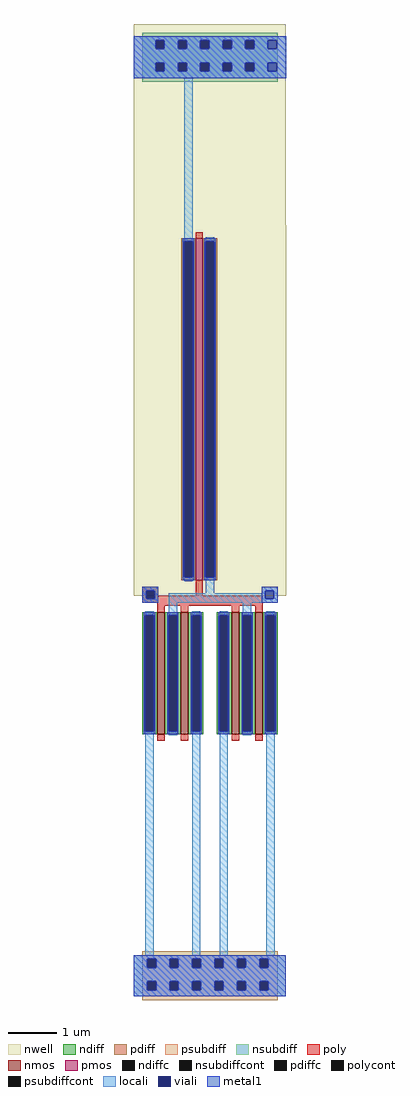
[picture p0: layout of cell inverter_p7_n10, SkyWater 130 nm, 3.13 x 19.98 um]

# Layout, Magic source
magic
tech sky130A
magscale 1 2
<< nwell >>
rect -36 2172 588 2996
rect -36 656 590 2172
<< psubdiff >>
rect 0 -832 554 -800
rect 0 -868 20 -832
rect 56 -868 112 -832
rect 148 -868 204 -832
rect 240 -868 296 -832
rect 332 -868 388 -832
rect 424 -868 480 -832
rect 516 -868 554 -832
rect 0 -924 554 -868
rect 0 -960 20 -924
rect 56 -960 112 -924
rect 148 -960 204 -924
rect 240 -960 296 -924
rect 332 -960 388 -924
rect 424 -960 480 -924
rect 516 -960 554 -924
rect 0 -1000 554 -960
<< nsubdiff >>
rect 0 2930 554 2960
rect 0 2894 54 2930
rect 90 2894 146 2930
rect 182 2894 238 2930
rect 274 2894 330 2930
rect 366 2894 422 2930
rect 458 2894 554 2930
rect 0 2838 554 2894
rect 0 2802 54 2838
rect 90 2802 146 2838
rect 182 2802 238 2838
rect 274 2802 330 2838
rect 366 2802 422 2838
rect 458 2802 554 2838
rect 0 2760 554 2802
<< psubdiffcont >>
rect 20 -868 56 -832
rect 112 -868 148 -832
rect 204 -868 240 -832
rect 296 -868 332 -832
rect 388 -868 424 -832
rect 480 -868 516 -832
rect 20 -960 56 -924
rect 112 -960 148 -924
rect 204 -960 240 -924
rect 296 -960 332 -924
rect 388 -960 424 -924
rect 480 -960 516 -924
<< nsubdiffcont >>
rect 54 2894 90 2930
rect 146 2894 182 2930
rect 238 2894 274 2930
rect 330 2894 366 2930
rect 422 2894 458 2930
rect 54 2802 90 2838
rect 146 2802 182 2838
rect 238 2802 274 2838
rect 330 2802 366 2838
rect 422 2802 458 2838
<< poly >>
rect 0 676 66 692
rect 0 642 16 676
rect 50 656 66 676
rect 218 656 248 692
rect 50 644 492 656
rect 50 642 66 644
rect 0 626 66 642
rect 188 614 366 644
<< polycont >>
rect 16 642 50 676
<< locali >>
rect -36 2930 590 2946
rect -36 2894 54 2930
rect 90 2894 146 2930
rect 182 2894 238 2930
rect 274 2894 330 2930
rect 366 2894 422 2930
rect 458 2894 514 2930
rect 550 2894 590 2930
rect -36 2838 590 2894
rect -36 2802 54 2838
rect 90 2802 146 2838
rect 182 2802 238 2838
rect 274 2802 330 2838
rect 366 2802 422 2838
rect 458 2802 514 2838
rect 550 2802 590 2838
rect -36 2774 590 2802
rect 172 2106 206 2774
rect 0 676 66 692
rect 0 642 16 676
rect 50 642 66 676
rect 260 666 294 714
rect 488 676 554 692
rect 488 666 504 676
rect 0 626 66 642
rect 108 642 504 666
rect 538 642 554 676
rect 108 626 554 642
rect 108 576 142 626
rect 412 592 446 626
rect 12 -816 46 84
rect 204 -816 238 84
rect 316 -816 350 84
rect 508 -816 542 84
rect -36 -832 588 -816
rect -36 -868 20 -832
rect 56 -868 112 -832
rect 148 -868 204 -832
rect 240 -868 296 -832
rect 332 -868 388 -832
rect 424 -868 480 -832
rect 516 -868 588 -832
rect -36 -924 588 -868
rect -36 -960 20 -924
rect 56 -960 112 -924
rect 148 -960 204 -924
rect 240 -960 296 -924
rect 332 -960 388 -924
rect 424 -960 480 -924
rect 516 -960 588 -924
rect -36 -984 588 -960
<< viali >>
rect 54 2894 90 2930
rect 146 2894 182 2930
rect 238 2894 274 2930
rect 330 2894 366 2930
rect 422 2894 458 2930
rect 514 2894 550 2930
rect 54 2802 90 2838
rect 146 2802 182 2838
rect 238 2802 274 2838
rect 330 2802 366 2838
rect 422 2802 458 2838
rect 514 2802 550 2838
rect 16 642 50 676
rect 504 642 538 676
rect 20 -868 56 -832
rect 112 -868 148 -832
rect 204 -868 240 -832
rect 296 -868 332 -832
rect 388 -868 424 -832
rect 480 -868 516 -832
rect 20 -960 56 -924
rect 112 -960 148 -924
rect 204 -960 240 -924
rect 296 -960 332 -924
rect 388 -960 424 -924
rect 480 -960 516 -924
<< metal1 >>
rect -36 2930 590 2946
rect -36 2894 54 2930
rect 90 2894 146 2930
rect 182 2894 238 2930
rect 274 2894 330 2930
rect 366 2894 422 2930
rect 458 2894 514 2930
rect 550 2894 590 2930
rect -36 2838 590 2894
rect -36 2802 54 2838
rect 90 2802 146 2838
rect 182 2802 238 2838
rect 274 2802 330 2838
rect 366 2802 422 2838
rect 458 2802 514 2838
rect 550 2802 590 2838
rect -36 2774 590 2802
rect 0 676 66 692
rect 0 642 16 676
rect 50 642 66 676
rect 0 626 66 642
rect 488 676 554 692
rect 488 642 504 676
rect 538 642 554 676
rect 488 626 554 642
rect -36 -832 588 -816
rect -36 -868 20 -832
rect 56 -868 112 -832
rect 148 -868 204 -832
rect 240 -868 296 -832
rect 332 -868 388 -832
rect 424 -868 480 -832
rect 516 -868 588 -832
rect -36 -924 588 -868
rect -36 -960 20 -924
rect 56 -960 112 -924
rect 148 -960 204 -924
rect 240 -960 296 -924
rect 332 -960 388 -924
rect 424 -960 480 -924
rect 516 -960 588 -924
rect -36 -984 588 -960
use sky130_fd_pr__nfet_01v8_V2VUT3  sky130_fd_pr__nfet_01v8_V2VUT3_0
transform 1 0 125 0 1 338
box -125 -276 125 306
use sky130_fd_pr__nfet_01v8_V2VUT3  sky130_fd_pr__nfet_01v8_V2VUT3_1
transform 1 0 429 0 1 338
box -125 -276 125 306
use sky130_fd_pr__pfet_01v8_VGLYR5  sky130_fd_pr__pfet_01v8_VGLYR5_0
transform 1 0 233 0 1 1418
box -109 -762 109 762
<< end >>

# cell sky130_fd_pr__nfet_01v8_V2VUT3: kit device sky130_fd_pr__nfet_01v8, w 2.5 l 0.150 m 1 nf 2 diffcov 100 polycov 100 guard 0 glc 1 grc 1 gtc 1 gbc 1 tbcov 100 rlcov 100 topc 0 botc 0 poverlap 0 doverlap 1 lmin 0.15 wmin 0.42 class mosfet compatible {sky130_fd_pr__nfet_01v8 sky130_fd_pr__nfet_01v8_lvt sky130_fd_bs_flash__special_sonosfet_star sky130_fd_pr__nfet_g5v0d10v5 sky130_fd_pr__nfet_05v0_nvt sky130_fd_pr__nfet_03v3_nvt} full_metal 0 viasrc 100 viadrn 100 viagate 100 viagb 0 viagr 0 viagl 0 viagt 0

# cell sky130_fd_pr__pfet_01v8_VGLYR5: kit device sky130_fd_pr__pfet_01v8, w 7 l 0.15 m 1 nf 1 diffcov 100 polycov 100 guard 0 glc 1 grc 1 gtc 1 gbc 1 tbcov 100 rlcov 100 topc 0 botc 0 poverlap 0 doverlap 1 lmin 0.15 wmin 0.42 class mosfet compatible {sky130_fd_pr__pfet_01v8 sky130_fd_pr__pfet_01v8_lvt sky130_fd_pr__pfet_01v8_hvt sky130_fd_pr__pfet_g5v0d10v5} full_metal 0 viasrc 100 viadrn 100 viagate 100 viagb 0 viagr 0 viagl 0 viagt 0
